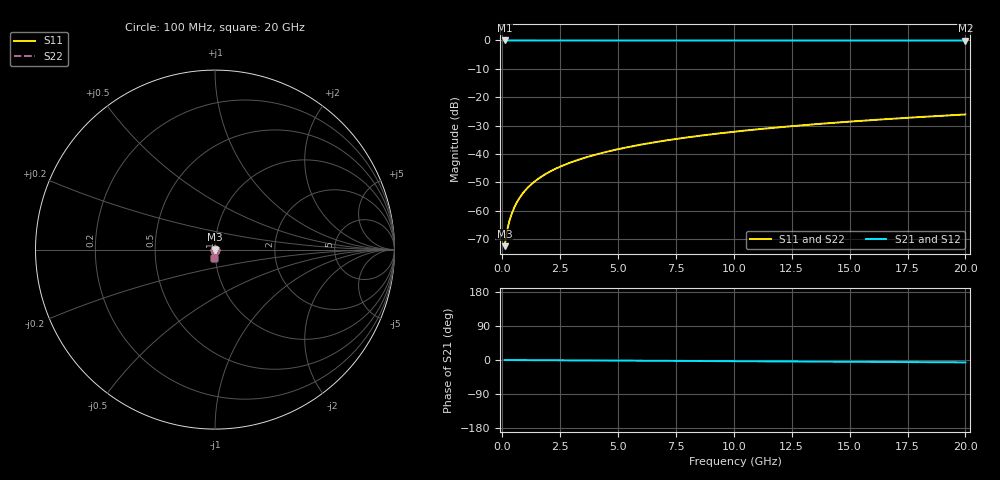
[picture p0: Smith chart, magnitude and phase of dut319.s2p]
! Touchstone file exported from HFSS 2026.1.0
!  File:  C:/ffzhzh/LocalFiles/Ansys_Project_Files/temp_train_TSV_319_1783018282_51716.aedt
!  Generated:  02:52:50 AM Jul  3, 2026
!  Design:  TSV
!  Project:  temp_train_TSV_319_1783018282_51716
! Variables:
!  h_bsmrdl = 2um
!  h_ox = 20um
!  h_rdl = 5um
!  h_sub = 58.06um
!  h_tmrdl = 5um
!  h_tsv = 58.06um
!  h_via = 3um
!  l_bsmrdl = 300um
!  l_sub = 418.62um
!  l_tmrdl = 200um
!  m_sub = 200um
!  pitch = 25.25um
!  r_tsv = 9.31um
!  s_tmrdl = 10um
!  w_bsmrdl = 18um
!  w_sub = 500um
!  w_tmrdl = 12um
!  x_tsv_center1 = 206um
!  x_tsv_center2 = 524um
!  x_tsv_center3 = 736um
!  x_tsv_center4 = 1054um
!  x_tsv_center5 = 1266um
!  x_tsv_center6 = 1584um
# GHz S MA R 50.000000
! Terminal data exported
! Port[1] = TSV1_1_T1
! Port[2] = TSV1_1_T2
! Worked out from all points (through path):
!   200 points, 100 MHz to 20 GHz, reference 50 ohm
!   highest |S21| = 0.00 dB at 100 MHz (marker M1); lowest = 0.0 dB at 20 GHz (marker M2)
!   lowest |S11| = -72.5 dB at 100 MHz (marker M3), VSWR 1.00, Z = 50 - j0.0202 ohm
!   |S11| at or under -10 dB: start of sweep to end of sweep
!   |S22| runs from -72.5 to -26.1 dB; largest |S21 - S12| = 4.3e-15
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0.1  0.0002365 -58.7  0.9999 -0.0  0.9999 -0.0  0.0002365 -58.7
! Gamma 0 0 0 0
! Port Impedance 50 0 50 0
0.2  0.0004315 -71.3  0.9999 -0.1  0.9999 -0.1  0.0004315 -71.3
0.3  0.0006431 -75.6  0.9998 -0.1  0.9998 -0.1  0.0006431 -75.6
0.4  0.0008651 -77.7  0.9998 -0.1  0.9998 -0.1  0.0008651 -77.7
0.5  0.001095 -79.0  0.9998 -0.2  0.9998 -0.2  0.001095 -79.0
0.7  0.001569 -80.8  0.9997 -0.2  0.9997 -0.2  0.001569 -80.8
0.8  0.00181 -81.5  0.9997 -0.3  0.9997 -0.3  0.00181 -81.5
1  0.002297 -82.6  0.9997 -0.3  0.9997 -0.3  0.002297 -82.6
1.2  0.002785 -83.5  0.9997 -0.4  0.9997 -0.4  0.002785 -83.5
1.4  0.003274 -84.2  0.9996 -0.4  0.9996 -0.4  0.003274 -84.2
1.7  0.004007 -85.1  0.9996 -0.5  0.9996 -0.5  0.004007 -85.1
2  0.00474 -85.7  0.9996 -0.6  0.9996 -0.6  0.00474 -85.7
2.7  0.006451 -86.8  0.9995 -0.9  0.9995 -0.9  0.006451 -86.8
3.5  0.008414 -87.6  0.9994 -1.1  0.9994 -1.1  0.008414 -87.6
4.2  0.01014 -88.1  0.9994 -1.3  0.9994 -1.3  0.01014 -88.1
5  0.01212 -88.6  0.9993 -1.6  0.9993 -1.6  0.01212 -88.6
6.8  0.01659 -89.6  0.9991 -2.1  0.9991 -2.1  0.01659 -89.6
8.3  0.02033 -90.3  0.999 -2.6  0.999 -2.6  0.02033 -90.3
10.1  0.02483 -91.1  0.9988 -3.2  0.9988 -3.2  0.02483 -91.1
13.4  0.03308 -92.4  0.9984 -4.2  0.9984 -4.2  0.03308 -92.4
16.7  0.04133 -93.6  0.998 -5.2  0.998 -5.2  0.04133 -93.6
20  0.04958 -94.8  0.9975 -6.2  0.9975 -6.2  0.04958 -94.8
